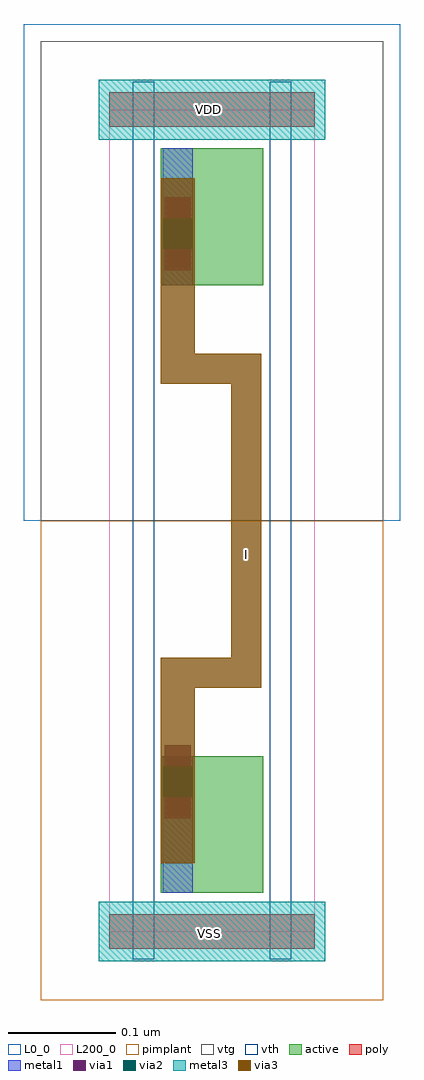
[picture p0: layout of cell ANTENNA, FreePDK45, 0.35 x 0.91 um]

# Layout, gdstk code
import gdstk
lib = gdstk.Library(unit=1e-6, precision=1e-09)
def R(c, l, rs):  # rectangles x0, y0, x1, y1
    for r in rs: c.add(gdstk.rectangle(r[:2], r[2:], *l))
def P(c, l, *ps):  # polygons
    for p in ps: c.add(gdstk.Polygon(p, *l))
L0_0 = (0, 0)
active = (1, 0)
pimplant = (5, 0)
vtg = (6, 0)
vth = (7, 0)
poly = (9, 0)
metal1 = (11, 0)
via1 = (12, 0)
via2 = (14, 0)
metal3 = (15, 0)
via3 = (16, 0)
L200_0 = (200, 0)

antenna = lib.new_cell('ANTENNA')
R(antenna, L0_0, [(-0.08,0.384,0.272,0.848)])
R(antenna, active, [(0.048,0.036,0.144,0.164), (0.048,0.604,0.144,0.732)])
R(antenna, pimplant, [(-0.064,-0.064,0.256,0.384)])
R(antenna, vtg, [(-0.064,0.384,0.256,0.832)])
R(antenna, vth, [(0.022,-0.026,0.042,0.794), (0.15,-0.026,0.17,0.794)])
R(antenna, poly, [(0,-0.016,0.192,0.016), (0,0.752,0.192,0.784)])
R(antenna, metal1, [(0.05,0.036,0.078,0.164), (0.05,0.604,0.078,0.732)])
R(antenna, via1, [(0.052,0.106,0.076,0.174), (0.052,0.618,0.076,0.686)])
R(antenna, via2, [(0.05,0.126,0.078,0.154), (0.05,0.638,0.078,0.666)])
R(antenna, metal3, [(-0.01,-0.028,0.202,0.028), (-0.01,0.74,0.202,0.796)])
P(antenna, via3, [(0.048,0.512),(0.114,0.512),(0.114,0.256),(0.048,0.256),(0.048,0.064),(0.08,0.064),(0.08,0.228),(0.142,0.228),(0.142,0.54),(0.08,0.54),(0.08,0.704),(0.048,0.704)])
R(antenna, L200_0, [(0,0,0.192,0.768)])
antenna.add(gdstk.Label('VSS', (0.094,-0.002), layer=15, texttype=20))
antenna.add(gdstk.Label('VDD', (0.093,0.768), layer=15, texttype=20))
antenna.add(gdstk.Label('I', (0.128,0.352), layer=16, texttype=20))

lib.write_gds('ANTENNA.gds')
